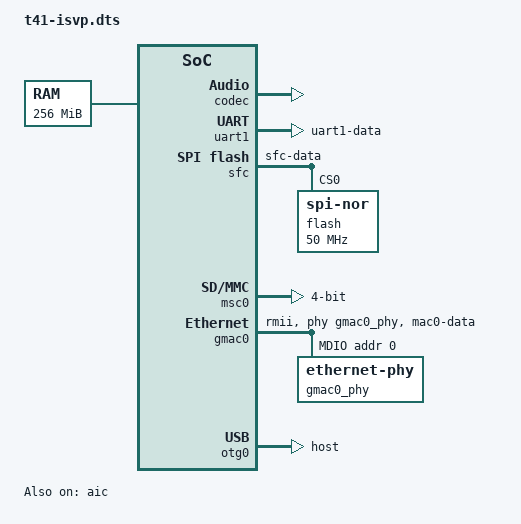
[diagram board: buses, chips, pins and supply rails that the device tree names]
// SPDX-License-Identifier: GPL-2.0+
/dts-v1/;

#include <dt-bindings/clock/ingenic,t41-cgu.h>
#include <dt-bindings/gpio/gpio.h>

/ {
	compatible = "ingenic,t41";
	#address-cells = <1>;
	#size-cells = <1>;

	aliases {
		serial1 = &uart1;
	};

	chosen {
		stdout-path = "serial1:115200n8";
	};

	memory@0 {
		device_type = "memory";
		reg = <0x0 0x10000000>;
	};

	cgu: clock-controller@b0000000 {
		compatible = "ingenic,t41-cgu";
		reg = <0xb0000000 0x1000>;
		#clock-cells = <1>;
		u-boot,dm-pre-reloc;
	};

	pinctrl: pinctrl@b0010000 {
		compatible = "ingenic,t41-pinctrl";
		reg = <0xb0010000 0x8000>;
		#address-cells = <1>;
		#size-cells = <0>;

		gpa: gpio@0 {
			compatible = "ingenic,t41-gpio";
			reg = <0>;
			gpio-controller;
			#gpio-cells = <2>;
		};

		gpb: gpio@1 {
			compatible = "ingenic,t41-gpio";
			reg = <1>;
			gpio-controller;
			#gpio-cells = <2>;
		};

		gpc: gpio@2 {
			compatible = "ingenic,t41-gpio";
			reg = <2>;
			gpio-controller;
			#gpio-cells = <2>;
		};

		gpd: gpio@3 {
			compatible = "ingenic,t41-gpio";
			reg = <3>;
			gpio-controller;
			#gpio-cells = <2>;
		};

		gpe: gpio@4 {
			compatible = "ingenic,t41-gpio";
			reg = <4>;
			gpio-controller;
			#gpio-cells = <2>;
		};

		pins_uart1: uart1 {
			function = "uart1";
			groups = "uart1-data";
		};

		pins_sfc: sfc {
			function = "sfc";
			groups = "sfc-data";
		};

		pins_mac0: mac0 {
			function = "mac0";
			groups = "mac0-data";
		};
	};

	/*
	 * AIC (audio interface controller) + on-chip codec. PIO playback
	 * driven by U-Boot's `sound` command. T41 codec is the "E-block":
	 * registers were renamed/relaid from T40's D-block (no _XX suffix,
	 * new CDCFGR/CACR1, DAC analog path on CANACR1/CHR/CHPOUTLGR).
	 * AIC IP is closer to T31/T32 - no AICCR1/AICCR2 extension that
	 * T40 has; AICFR uses RMASTER/TMASTER (T32-style) for master sel.
	 */
	aic: audio-controller@b0020000 {
		compatible = "ingenic,t41-aic";
		reg = <0xb0020000 0x100>;
		#sound-dai-cells = <0>;
		status = "okay";
	};

	codec: audio-codec@b0021000 {
		compatible = "ingenic,t41-codec";
		reg = <0xb0021000 0x130>;
		#sound-dai-cells = <0>;
		/* Speaker-amp enable: vendor codec.c default PB31,
		 * active-high. Override per board if the amp is on a
		 * different pin/polarity. */
		ingenic,spk-gpio = <&gpb 31 GPIO_ACTIVE_HIGH>;
		status = "okay";
	};

	sound: sound {
		compatible = "ingenic,t41-sound";
		status = "okay";

		cpu {
			sound-dai = <&aic>;
		};

		codec {
			sound-dai = <&codec>;
		};
	};

	uart1: serial@b0031000 {
		compatible = "ingenic,jz4780-uart", "ns16550a";
		reg = <0xb0031000 0x100>;
		reg-shift = <2>;
		clock-frequency = <24000000>;
		pinctrl-names = "default";
		pinctrl-0 = <&pins_uart1>;
		status = "okay";
	};

	/*
	 * TCU (timer/counter unit) container mirroring T31's binding. U-Boot
	 * only needs the watchdog child for sysreset; the WDT self-clocks
	 * from the 32 kHz RTC so the TCU clock provider is not required.
	 */
	tcu: timer@b0002000 {
		compatible = "ingenic,t41-tcu", "ingenic,jz4760-tcu",
			     "simple-mfd";
		reg = <0xb0002000 0x1000>;
		#address-cells = <1>;
		#size-cells = <1>;
		ranges = <0x0 0xb0002000 0x1000>;

		watchdog: watchdog@0 {
			compatible = "ingenic,t41-watchdog",
				     "ingenic,jz4780-watchdog";
			reg = <0x0 0x10>;
		};
	};

	sfc: spi@b3440000 {
		compatible = "ingenic,t41-sfc";
		reg = <0xb3440000 0x10000>;
		#address-cells = <1>;
		#size-cells = <0>;
		clocks = <&cgu T41_CLK_SFC>;
		pinctrl-names = "default";
		pinctrl-0 = <&pins_sfc>;
		spi-max-frequency = <50000000>;
		status = "okay";

		flash@0 {
			compatible = "jedec,spi-nor";
			reg = <0>;
			spi-max-frequency = <50000000>;
		};
	};

	msc0: mmc@b3060000 {
		compatible = "ingenic,t41-mmc";
		reg = <0xb3060000 0x10000>;
		clocks = <&cgu T41_CLK_MSC0>;
		clock-names = "mmc";
		bus-width = <4>;
		broken-cd;
		status = "okay";
	};

	gmac0: ethernet@b34b0000 {
		compatible = "ingenic,t41-gmac";
		reg = <0xb34b0000 0x2000>;
		clocks = <&cgu T41_CLK_GMAC0>;
		phy-mode = "rmii";
		phy-handle = <&gmac0_phy>;
		ingenic,mode-reg = <0xb00000e8>;
		max-speed = <100>;
		macphy-rate = <50000000>;
		pinctrl-names = "default";
		pinctrl-0 = <&pins_mac0>;
		status = "okay";

		mdio {
			#address-cells = <1>;
			#size-cells = <0>;

			gmac0_phy: ethernet-phy@0 {
				reg = <0>;
			};
		};
	};

	/*
	 * T41 has a single DWC2 USB OTG at 0xb3500000 (XBurst2 layout shared
	 * with T40 / A1). NOR-boot DT runs the port as a USB host so the
	 * board can enumerate ASIX-style USB ethernet without DFU.
	 */
	otg0: usb@b3500000 {
		compatible = "snps,dwc2";
		reg = <0xb3500000 0x40000>;
		clocks = <&cgu T41_CLK_OTG0>;
		dr_mode = "host";
		/* Same CONIDSTS=1 quirk as T40: the OTG port enumerates as a
		 * B-device even on A-receptacle wiring, so the dwc2 host
		 * driver never powers the port. hnp-srp-disable forces
		 * GUSBCFG.FORCEHOSTMODE, bypassing the ID-pin check. */
		hnp-srp-disable;
		status = "okay";
	};
};
